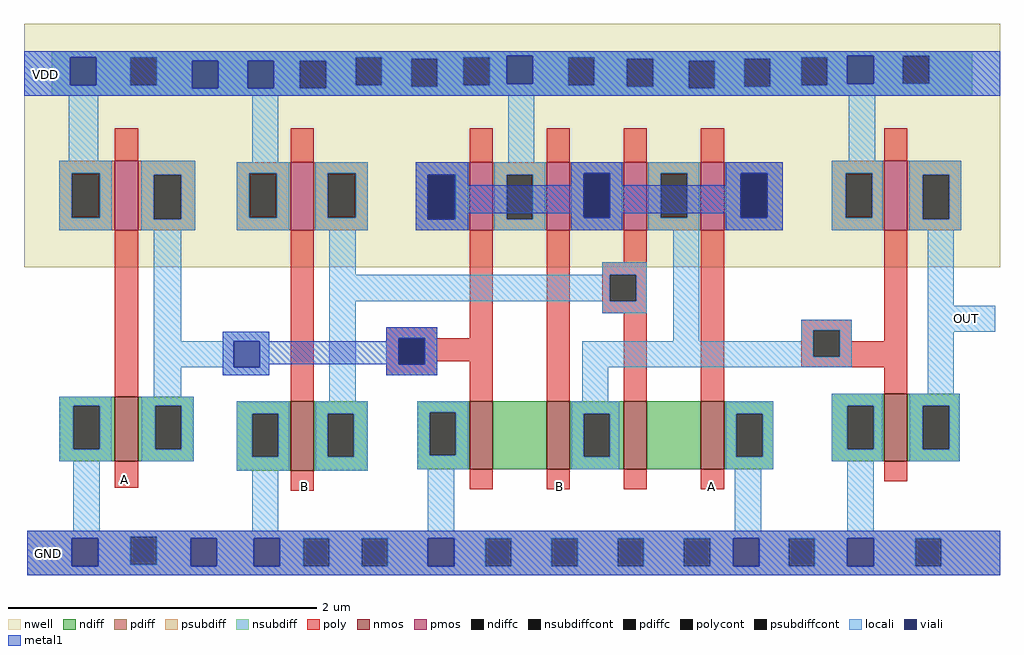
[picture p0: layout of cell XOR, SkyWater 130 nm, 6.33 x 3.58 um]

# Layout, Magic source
magic
tech sky130A
<< nwell >>
rect -191 -15 442 143
<< nmos >>
rect -132 -141 -117 -99
rect -18 -147 -3 -102
rect 98 -146 113 -102
rect 148 -146 163 -102
rect 198 -146 213 -102
rect 248 -146 263 -102
rect 367 -141 382 -97
<< pmos >>
rect -132 9 -117 54
rect -18 9 -3 53
rect 98 9 113 53
rect 148 9 163 53
rect 198 9 213 53
rect 248 9 263 53
rect 367 9 382 54
<< ndiff >>
rect -168 -105 -132 -99
rect -168 -133 -159 -105
rect -142 -133 -132 -105
rect -168 -141 -132 -133
rect -117 -105 -81 -99
rect -117 -133 -106 -105
rect -89 -133 -81 -105
rect -117 -141 -81 -133
rect -53 -110 -18 -102
rect -53 -138 -43 -110
rect -26 -138 -18 -110
rect -53 -147 -18 -138
rect -3 -110 32 -102
rect -3 -138 6 -110
rect 23 -138 32 -110
rect -3 -147 32 -138
rect 64 -109 98 -102
rect 64 -137 72 -109
rect 89 -137 98 -109
rect 64 -146 98 -137
rect 113 -146 148 -102
rect 163 -110 198 -102
rect 163 -138 172 -110
rect 189 -138 198 -110
rect 163 -146 198 -138
rect 213 -146 248 -102
rect 263 -110 295 -102
rect 263 -138 271 -110
rect 288 -138 295 -110
rect 263 -146 295 -138
rect 333 -105 367 -97
rect 333 -133 343 -105
rect 360 -133 367 -105
rect 333 -141 367 -133
rect 382 -105 416 -97
rect 382 -133 392 -105
rect 409 -133 416 -105
rect 382 -141 416 -133
<< pdiff >>
rect -168 46 -132 54
rect -168 17 -160 46
rect -142 17 -132 46
rect -168 9 -132 17
rect -117 45 -80 54
rect -117 16 -107 45
rect -89 16 -80 45
rect -117 9 -80 16
rect -53 46 -18 53
rect -53 17 -45 46
rect -27 17 -18 46
rect -53 9 -18 17
rect -3 46 32 53
rect -3 17 6 46
rect 24 17 32 46
rect -3 9 32 17
rect 63 45 98 53
rect 63 16 71 45
rect 89 16 98 45
rect 63 9 98 16
rect 113 45 148 53
rect 113 16 122 45
rect 139 16 148 45
rect 113 9 148 16
rect 163 46 198 53
rect 163 17 172 46
rect 189 17 198 46
rect 163 9 198 17
rect 213 46 248 53
rect 213 17 222 46
rect 239 17 248 46
rect 213 9 248 17
rect 263 46 301 53
rect 263 17 274 46
rect 291 17 301 46
rect 263 9 301 17
rect 333 46 367 54
rect 333 17 342 46
rect 359 17 367 46
rect 333 9 367 17
rect 382 45 417 54
rect 382 16 392 45
rect 409 16 417 45
rect 382 9 417 16
<< ndiffc >>
rect -159 -133 -142 -105
rect -106 -133 -89 -105
rect -43 -138 -26 -110
rect 6 -138 23 -110
rect 72 -137 89 -109
rect 172 -138 189 -110
rect 271 -138 288 -110
rect 343 -133 360 -105
rect 392 -133 409 -105
<< pdiffc >>
rect -160 17 -142 46
rect -107 16 -89 45
rect -45 17 -27 46
rect 6 17 24 46
rect 71 16 89 45
rect 122 16 139 45
rect 172 17 189 46
rect 222 17 239 46
rect 274 17 291 46
rect 342 17 359 46
rect 392 16 409 45
<< psubdiff >>
rect -189 -190 442 -186
rect -189 -208 -122 -190
rect -105 -191 442 -190
rect -105 -208 -10 -191
rect -189 -209 -10 -208
rect 7 -209 28 -191
rect 45 -209 108 -191
rect 125 -209 151 -191
rect 168 -209 194 -191
rect 211 -209 237 -191
rect 254 -209 305 -191
rect 322 -209 387 -191
rect 404 -209 442 -191
rect -189 -215 442 -209
<< nsubdiff >>
rect -173 122 424 125
rect -173 121 379 122
rect -173 103 -122 121
rect -105 119 24 121
rect -105 103 -12 119
rect -173 101 -12 103
rect 5 103 24 119
rect 41 120 94 121
rect 41 103 60 120
rect 5 102 60 103
rect 77 103 94 120
rect 111 103 162 121
rect 179 120 313 121
rect 179 103 200 120
rect 77 102 200 103
rect 217 119 276 120
rect 217 102 240 119
rect 5 101 240 102
rect 257 102 276 119
rect 293 103 313 120
rect 330 104 379 121
rect 396 104 424 122
rect 330 103 424 104
rect 293 102 424 103
rect 257 101 424 102
rect -173 96 424 101
<< psubdiffcont >>
rect -122 -208 -105 -190
rect -10 -209 7 -191
rect 28 -209 45 -191
rect 108 -209 125 -191
rect 151 -209 168 -191
rect 194 -209 211 -191
rect 237 -209 254 -191
rect 305 -209 322 -191
rect 387 -209 404 -191
<< nsubdiffcont >>
rect -122 103 -105 121
rect -12 101 5 119
rect 24 103 41 121
rect 60 102 77 120
rect 94 103 111 121
rect 162 103 179 121
rect 200 102 217 120
rect 240 101 257 119
rect 276 102 293 120
rect 313 103 330 121
rect 379 104 396 122
<< poly >>
rect -132 54 -117 75
rect -18 53 -3 75
rect 98 53 113 75
rect 148 53 163 75
rect 198 53 213 75
rect 248 53 263 75
rect 367 54 382 75
rect -132 -99 -117 9
rect -18 -102 -3 9
rect 44 -61 77 -54
rect 98 -61 113 9
rect 44 -78 52 -61
rect 69 -76 113 -61
rect 69 -78 77 -76
rect 44 -85 77 -78
rect 98 -102 113 -76
rect 148 -102 163 9
rect 198 -12 213 9
rect 184 -20 213 -12
rect 184 -37 189 -20
rect 206 -37 213 -20
rect 184 -45 213 -37
rect 198 -102 213 -45
rect 248 -102 263 9
rect 313 -56 346 -49
rect 313 -73 321 -56
rect 338 -63 346 -56
rect 367 -63 382 9
rect 338 -73 382 -63
rect 313 -80 382 -73
rect 367 -97 382 -80
rect -132 -158 -117 -141
rect -18 -160 -3 -147
rect 98 -159 113 -146
rect 148 -159 163 -146
rect 198 -159 213 -146
rect 248 -159 263 -146
rect 367 -154 382 -141
<< polycont >>
rect 52 -78 69 -61
rect 189 -37 206 -20
rect 321 -73 338 -56
<< locali >>
rect -191 122 442 125
rect -191 121 122 122
rect -191 103 -161 121
rect -144 103 -122 121
rect -105 119 24 121
rect -105 103 -82 119
rect -191 101 -82 103
rect -65 101 -46 119
rect -29 101 -12 119
rect 5 103 24 119
rect 41 120 94 121
rect 41 103 60 120
rect 5 102 60 103
rect 77 103 94 120
rect 111 104 122 121
rect 139 121 343 122
rect 139 104 162 121
rect 111 103 162 104
rect 179 120 313 121
rect 179 103 200 120
rect 77 102 200 103
rect 217 119 276 120
rect 217 102 240 119
rect 5 101 240 102
rect 257 102 276 119
rect 293 103 313 120
rect 330 104 343 121
rect 360 104 379 122
rect 396 104 442 122
rect 330 103 442 104
rect 293 102 442 103
rect 257 101 442 102
rect -191 96 442 101
rect -162 54 -143 96
rect -168 46 -134 54
rect -168 17 -160 46
rect -142 17 -134 46
rect -168 9 -134 17
rect -115 45 -80 54
rect -43 53 -26 96
rect 123 53 140 96
rect 344 54 361 96
rect -115 16 -107 45
rect -89 16 -80 45
rect -115 9 -80 16
rect -53 46 -19 53
rect -53 17 -45 46
rect -27 17 -19 46
rect -53 9 -19 17
rect -2 46 32 53
rect -2 17 6 46
rect 24 17 32 46
rect -2 9 32 17
rect 63 45 97 53
rect 63 16 71 45
rect 89 16 97 45
rect 63 9 97 16
rect 114 45 147 53
rect 114 16 122 45
rect 139 16 147 45
rect 114 9 147 16
rect 164 46 197 53
rect 164 17 172 46
rect 189 17 197 46
rect 164 9 197 17
rect 214 46 247 53
rect 214 17 222 46
rect 239 17 247 46
rect 214 9 247 17
rect 264 46 301 53
rect 264 17 274 46
rect 291 17 301 46
rect 264 9 301 17
rect 333 46 366 54
rect 333 17 342 46
rect 359 17 366 46
rect 333 9 366 17
rect 383 45 417 54
rect 383 16 392 45
rect 409 16 417 45
rect 383 9 417 16
rect -107 -63 -89 9
rect 7 -20 24 9
rect 184 -20 213 -12
rect 7 -37 189 -20
rect 206 -37 213 -20
rect -62 -63 -32 -57
rect -107 -80 -55 -63
rect -38 -80 -32 -63
rect -107 -99 -89 -80
rect -62 -85 -32 -80
rect -168 -105 -134 -99
rect -168 -133 -159 -105
rect -142 -133 -134 -105
rect -168 -141 -134 -133
rect -115 -105 -81 -99
rect 7 -102 24 -37
rect 184 -45 213 -37
rect 44 -61 77 -54
rect 44 -78 52 -61
rect 69 -78 77 -61
rect 230 -63 247 9
rect 395 -40 412 9
rect 313 -56 346 -49
rect 313 -63 321 -56
rect 44 -85 77 -78
rect 171 -73 321 -63
rect 338 -73 346 -56
rect 171 -80 346 -73
rect 395 -57 439 -40
rect 171 -102 188 -80
rect 395 -97 412 -57
rect -115 -133 -106 -105
rect -89 -133 -81 -105
rect -115 -141 -81 -133
rect -53 -110 -19 -102
rect -53 -138 -43 -110
rect -26 -138 -19 -110
rect -159 -186 -142 -141
rect -53 -147 -19 -138
rect -2 -110 32 -102
rect -2 -138 6 -110
rect 23 -138 32 -110
rect -2 -147 32 -138
rect 64 -109 97 -102
rect 64 -137 72 -109
rect 89 -137 97 -109
rect 64 -146 97 -137
rect 164 -110 195 -102
rect 164 -138 172 -110
rect 189 -138 195 -110
rect 164 -146 195 -138
rect 264 -110 295 -102
rect 264 -138 271 -110
rect 288 -138 295 -110
rect 264 -146 295 -138
rect 333 -105 366 -97
rect 333 -133 343 -105
rect 360 -133 366 -105
rect 333 -141 366 -133
rect 383 -105 416 -97
rect 383 -133 392 -105
rect 409 -133 416 -105
rect 383 -141 416 -133
rect -43 -186 -26 -147
rect 71 -186 88 -146
rect 270 -186 287 -146
rect 343 -186 360 -141
rect -189 -190 442 -186
rect -189 -191 -122 -190
rect -189 -209 -160 -191
rect -143 -208 -122 -191
rect -105 -191 442 -190
rect -105 -208 -83 -191
rect -143 -209 -83 -208
rect -66 -209 -42 -191
rect -25 -209 -10 -191
rect 7 -209 28 -191
rect 45 -209 71 -191
rect 88 -209 108 -191
rect 125 -209 151 -191
rect 168 -209 194 -191
rect 211 -209 237 -191
rect 254 -209 269 -191
rect 286 -209 305 -191
rect 322 -209 343 -191
rect 360 -209 387 -191
rect 404 -209 442 -191
rect -189 -215 442 -209
<< viali >>
rect -161 103 -144 121
rect -82 101 -65 119
rect -46 101 -29 119
rect 122 104 139 122
rect 343 104 360 122
rect 71 16 88 45
rect 172 17 189 46
rect 274 17 291 46
rect -55 -80 -38 -63
rect 52 -78 69 -61
rect -160 -209 -143 -191
rect -83 -209 -66 -191
rect -42 -209 -25 -191
rect 71 -209 88 -191
rect 269 -209 286 -191
rect 343 -209 360 -191
<< metal1 >>
rect -191 122 442 125
rect -191 121 122 122
rect -191 103 -161 121
rect -144 119 122 121
rect -144 103 -82 119
rect -191 101 -82 103
rect -65 101 -46 119
rect -29 104 122 119
rect 139 104 343 122
rect 360 104 442 122
rect -29 101 442 104
rect -191 96 442 101
rect 63 45 97 53
rect 63 16 71 45
rect 88 38 97 45
rect 164 46 197 53
rect 164 38 172 46
rect 88 20 172 38
rect 88 16 97 20
rect 63 9 97 16
rect 164 17 172 20
rect 189 38 197 46
rect 264 46 301 53
rect 264 38 274 46
rect 189 20 274 38
rect 189 17 197 20
rect 164 9 197 17
rect 264 17 274 20
rect 291 17 301 46
rect 264 9 301 17
rect -62 -63 -32 -57
rect 44 -61 77 -54
rect 44 -63 52 -61
rect -62 -80 -55 -63
rect -38 -78 52 -63
rect 69 -78 77 -61
rect -38 -80 -32 -78
rect -62 -85 -32 -80
rect 44 -85 77 -78
rect -189 -191 442 -186
rect -189 -209 -160 -191
rect -143 -209 -83 -191
rect -66 -209 -42 -191
rect -25 -209 71 -191
rect 88 -209 269 -191
rect 286 -209 343 -191
rect 360 -209 442 -191
rect -189 -215 442 -209
<< labels >>
flabel metal1 s -189 100 -165 120 0 FreeSans 80 0 0 0 VDD
port 0 nsew
flabel metal1 s -187 -211 -163 -191 0 FreeSans 80 0 0 0 GND
port 1 nsew
flabel poly s -138 -163 -114 -143 0 FreeSans 80 0 0 0 A
port 2 nsew
flabel poly s 243 -167 267 -147 0 FreeSans 80 0 0 0 A
flabel poly s -21 -167 3 -147 0 FreeSans 80 0 0 0 B
port 3 nsew
flabel poly s 144 -167 168 -147 0 FreeSans 80 0 0 0 B
flabel locali s 408 -58 432 -38 0 FreeSans 80 0 0 0 OUT
port 4 nsew
<< end >>
